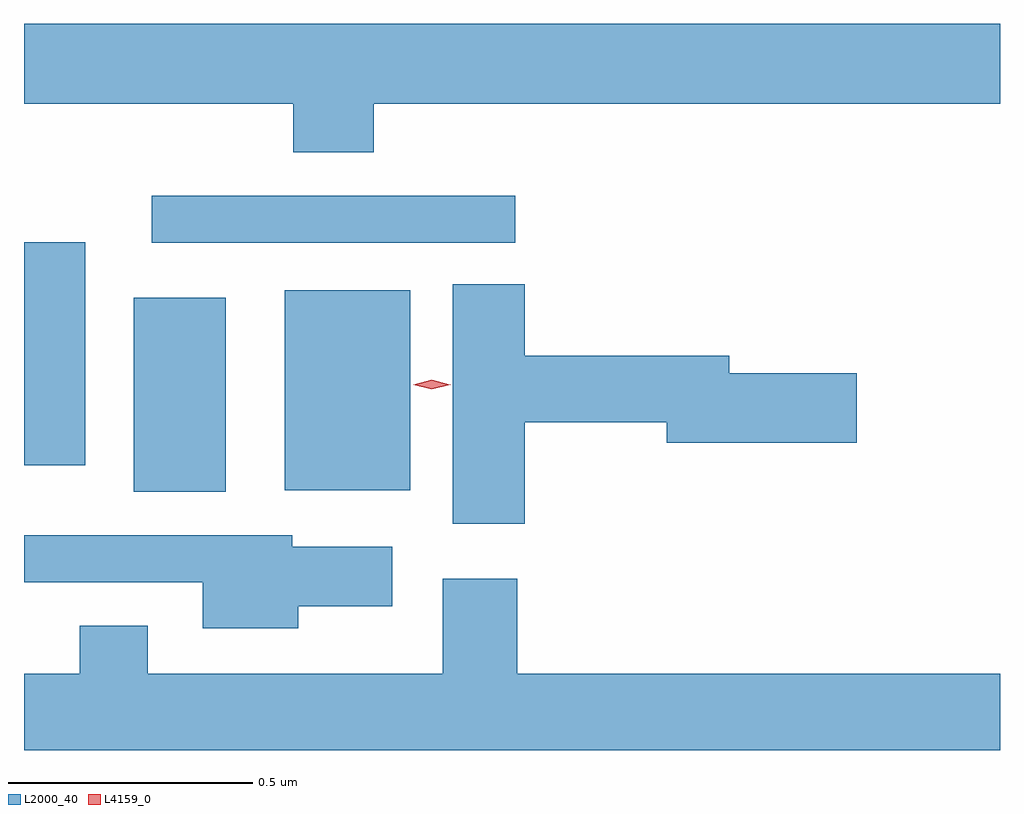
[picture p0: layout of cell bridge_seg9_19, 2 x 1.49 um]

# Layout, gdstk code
import gdstk
lib = gdstk.Library(unit=1e-6, precision=1e-09)
def R(c, l, rs):  # rectangles x0, y0, x1, y1
    for r in rs: c.add(gdstk.rectangle(r[:2], r[2:], *l))
def P(c, l, *ps):  # polygons
    for p in ps: c.add(gdstk.Polygon(p, *l))
L2000_40 = (2000, 40)
L4159_0 = (4159, 0)

bridge_seg9_19 = lib.new_cell('bridge_seg9_19')
R(bridge_seg9_19, L2000_40, [(1004.966,1212.941,1005.154,1213.339), (1005.275,1212.944,1005.532,1213.354), (1004.741,1212.996,1004.866,1213.453), (1005.003,1213.452,1005.748,1213.548)])
P(bridge_seg9_19, L2000_40, [(1005.458,1213.736),(1006.741,1213.736),(1006.741,1213.9),(1004.741,1213.9),(1004.741,1213.736),(1005.293,1213.736),(1005.293,1213.637),(1005.458,1213.637)],
  [(1005.767,1213.084),(1006.058,1213.084),(1006.058,1213.042),(1006.447,1213.042),(1006.447,1213.184),(1006.186,1213.184),(1006.186,1213.22),(1005.767,1213.22),(1005.767,1213.367),(1005.62,1213.367),(1005.62,1212.876),(1005.767,1212.876)],
  [(1005.303,1212.707),(1005.496,1212.707),(1005.496,1212.829),(1005.291,1212.829),(1005.291,1212.852),(1004.741,1212.852),(1004.741,1212.756),(1005.107,1212.756),(1005.107,1212.662),(1005.303,1212.662)],
  [(1006.741,1212.568),(1005.752,1212.568),(1005.752,1212.763),(1005.599,1212.763),(1005.599,1212.568),(1004.995,1212.568),(1004.995,1212.667),(1004.855,1212.667),(1004.855,1212.568),(1004.741,1212.568),(1004.741,1212.412),(1006.741,1212.412)])
P(bridge_seg9_19, L4159_0, [(1005.577,1213.151),(1005.539,1213.161),(1005.539,1213.161),(1005.539,1213.161),(1005.577,1213.171),(1005.614,1213.161),(1005.615,1213.161),(1005.614,1213.161)])

lib.write_gds('bridge_seg9_19.gds')
